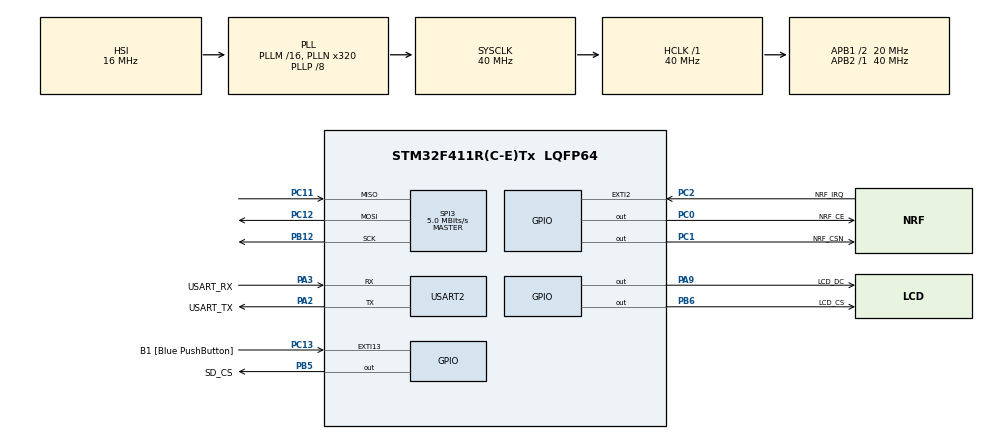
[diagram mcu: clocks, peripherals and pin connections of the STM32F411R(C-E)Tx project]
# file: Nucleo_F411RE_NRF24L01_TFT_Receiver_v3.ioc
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Mcu.Family=STM32F4
Mcu.Name=STM32F411R(C-E)Tx
Mcu.Package=LQFP64
NVIC.EXTI2_IRQn=true\:0\:0\:false\:false\:true\:true\:true
NVIC.PriorityGroup=NVIC_PRIORITYGROUP_0
PA13.GPIO_Label=TMS
PA13.Mode=Serial_Wire
PA13.Signal=SYS_JTMS-SWDIO
PA14.GPIO_Label=TCK
PA14.Mode=Serial_Wire
PA14.Signal=SYS_JTCK-SWCLK
PA2.GPIO_Label=USART_TX
PA2.Mode=Asynchronous
PA2.Signal=USART2_TX
PA3.GPIO_Label=USART_RX
PA3.Mode=Asynchronous
PA3.Signal=USART2_RX
PA5.Signal=SPI1_SCK
PA9.GPIO_Label=LCD_DC
PA9.Signal=GPIO_Output
PB12.Mode=Full_Duplex_Master
PB12.Signal=SPI3_SCK
PB5.GPIO_Label=SD_CS
PB5.Signal=GPIO_Output
PB6.GPIO_Label=LCD_CS
PB6.Signal=GPIO_Output
PC0.GPIO_Label=NRF_CE
PC0.Signal=GPIO_Output
PC1.GPIO_Label=NRF_CSN
PC1.Signal=GPIO_Output
PC11.Mode=Full_Duplex_Master
PC11.Signal=SPI3_MISO
PC12.Mode=Full_Duplex_Master
PC12.Signal=SPI3_MOSI
PC13-ANTI_TAMP.GPIO_Label=B1 [Blue PushButton]
PC13-ANTI_TAMP.GPIO_ModeDefaultEXTI=GPIO_MODE_IT_FALLING
PC13-ANTI_TAMP.Signal=GPXTI13
PC14-OSC32_IN.Mode=LSE-External-Oscillator
PC14-OSC32_IN.Signal=RCC_OSC32_IN
PC15-OSC32_OUT.Mode=LSE-External-Oscillator
PC15-OSC32_OUT.Signal=RCC_OSC32_OUT
PC2.GPIO_Label=NRF_IRQ
PC2.Signal=GPXTI2
PH0\ -\ OSC_IN.Mode=HSE-External-Clock-Source
PH0\ -\ OSC_IN.Signal=RCC_OSC_IN
PH1\ -\ OSC_OUT.Mode=HSE-External-Clock-Source
PH1\ -\ OSC_OUT.Signal=RCC_OSC_OUT
ProjectManager.HeapSize=0x200
ProjectManager.StackSize=0x400
ProjectManager.TargetToolchain=STM32CubeIDE
RCC.48MHZClocksFreq_Value=80000000
RCC.AHBFreq_Value=40000000
RCC.APB1CLKDivider=RCC_HCLK_DIV2
RCC.APB1Freq_Value=20000000
RCC.APB1TimFreq_Value=40000000
RCC.APB2Freq_Value=40000000
RCC.APB2TimFreq_Value=40000000
RCC.CortexFreq_Value=40000000
RCC.FLatency-AdvancedSettings=FLASH_LATENCY_1
RCC.HCLKFreq_Value=40000000
RCC.HSE_VALUE=8000000
RCC.HSI_VALUE=16000000
RCC.PLLN=320
RCC.PLLP=RCC_PLLP_DIV8
RCC.SYSCLKFreq_VALUE=40000000
RCC.SYSCLKSource=RCC_SYSCLKSOURCE_PLLCLK
RCC.VCOOutputFreq_Value=320000000
SPI3.BaudRatePrescaler=SPI_BAUDRATEPRESCALER_4
SPI3.CalculateBaudRate=5.0 MBits/s
SPI3.Direction=SPI_DIRECTION_2LINES
SPI3.Mode=SPI_MODE_MASTER
SPI3.VirtualType=VM_MASTER
USART2.VirtualMode=VM_ASYNC
board=NUCLEO-F411RE

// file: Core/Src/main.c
/* USER CODE BEGIN Header */
/**
 ******************************************************************************
 * @file           : main.c
 * @brief          : Main program body
 ******************************************************************************
 * @attention
 *
 * <h2><center>&copy; Copyright (c) 2020 STMicroelectronics.
 * All rights reserved.</center></h2>
 *
 * This software component is licensed by ST under BSD 3-Clause license,
 * the "License"; You may not use this file except in compliance with the
 * License. You may obtain a copy of the License at:
 *                        opensource.org/licenses/BSD-3-Clause
 *
 ******************************************************************************
 */
/* USER CODE END Header */
#include "main.h"

/* USER CODE BEGIN Includes */
#include <stdio.h>
#include <math.h>
#include <string.h> /* strlen */
#include <inttypes.h>
/* USER CODE END Includes */

/* USER CODE BEGIN PTD */

typedef enum {
	SHIELD_NOT_DETECTED = 0,
	SHIELD_DETECTED
}ShieldStatus;

/* USER CODE END PTD */

/* USER CODE BEGIN PD */

#define SD_CARD_NOT_FORMATTED                    0
#define SD_CARD_FILE_NOT_SUPPORTED               1
#define SD_CARD_OPEN_FAIL                        2
#define FATFS_NOT_MOUNTED                        3
/* USER CODE END PD */

SPI_HandleTypeDef hspi3;

UART_HandleTypeDef huart2;

/* USER CODE BEGIN PV */

uint8_t BlinkSpeed = 0, str[20];
__IO uint8_t JoystickValue = 0;

uint32_t CH1_captures[2];
volatile uint8_t  CH1_captureDone = 0;
volatile uint16_t uh_CH1_CaptureIndex = 0;
volatile uint32_t CH1_diffCapture = 0;
/* USER CODE END PV */

void SystemClock_Config(void);
static void MX_GPIO_Init(void);
static void MX_SPI3_Init(void);
static void MX_USART2_UART_Init(void);
/* USER CODE BEGIN PFP */

static ShieldStatus TFT_ShieldDetect(void);
static void TFT_DisplayMenu(void);

void runRadio(void);
/* USER CODE END PFP */

/* USER CODE BEGIN 0 */

// WARNING UART2 is connected to st-link
// Properties -> Settings -> MCU_Settings -> select use float with printf
/*
 * USART2, BaudRate = 115200, WordLength = UART_WORDLENGTH_8B, StopBits = UART_STOPBITS_1;
 * */
int _write(int file, char *ptr, int len)
{
	HAL_UART_Transmit(&huart2,(uint8_t *)ptr, len, 10);
	return len;
}
/* USER CODE END 0 */

int main(void)
{

  /* MCU Configuration--------------------------------------------------------*/

  /* Reset of all peripherals, Initializes the Flash interface and the Systick. */
  HAL_Init();

  /* Configure the system clock */
  SystemClock_Config();

  /* Initialize all configured peripherals */
  MX_GPIO_Init();
  MX_SPI3_Init();
  MX_USART2_UART_Init();
  /* USER CODE BEGIN 2 */

	printf("start\n");

	/* Check the availability of adafruit 1.8" TFT shield on top of STM32NUCLEO
       board. This is done by reading the state of IO PB.00 pin (mapped to JoyStick
       available on adafruit 1.8" TFT shield). If the state of PB.00 is high then
       the adafruit 1.8" TFT shield is available. */
	if(TFT_ShieldDetect() == SHIELD_DETECTED)
	{
		/* Initialize the LCD */
		uint8_t ret = BSP_LCD_Init();

		TFT_DisplayMenu();

	}
	else /* Shield not mounted */
	{
		Error_Handler();
	}

	HAL_Delay(100);

	runRadio();

  /* USER CODE END 2 */

  /* Infinite loop */
	while (1)
	{

	}
}

void SystemClock_Config(void)
{
  RCC_OscInitTypeDef RCC_OscInitStruct = {0};
  RCC_ClkInitTypeDef RCC_ClkInitStruct = {0};

  /** Configure the main internal regulator output voltage
  */
  __HAL_RCC_PWR_CLK_ENABLE();
  __HAL_PWR_VOLTAGESCALING_CONFIG(PWR_REGULATOR_VOLTAGE_SCALE1);
  /** Initializes the RCC Oscillators according to the specified parameters
  * in the RCC_OscInitTypeDef structure.
  */
  RCC_OscInitStruct.OscillatorType = RCC_OSCILLATORTYPE_HSI;
  RCC_OscInitStruct.HSIState = RCC_HSI_ON;
  RCC_OscInitStruct.HSICalibrationValue = RCC_HSICALIBRATION_DEFAULT;
  RCC_OscInitStruct.PLL.PLLState = RCC_PLL_ON;
  RCC_OscInitStruct.PLL.PLLSource = RCC_PLLSOURCE_HSI;
  RCC_OscInitStruct.PLL.PLLM = 16;
  RCC_OscInitStruct.PLL.PLLN = 320;
  RCC_OscInitStruct.PLL.PLLP = RCC_PLLP_DIV8;
  RCC_OscInitStruct.PLL.PLLQ = 4;
  if (HAL_RCC_OscConfig(&RCC_OscInitStruct) != HAL_OK)
  {
    Error_Handler();
  }
  /** Initializes the CPU, AHB and APB buses clocks
  */
  RCC_ClkInitStruct.ClockType = RCC_CLOCKTYPE_HCLK|RCC_CLOCKTYPE_SYSCLK
                              |RCC_CLOCKTYPE_PCLK1|RCC_CLOCKTYPE_PCLK2;
  RCC_ClkInitStruct.SYSCLKSource = RCC_SYSCLKSOURCE_PLLCLK;
  RCC_ClkInitStruct.AHBCLKDivider = RCC_SYSCLK_DIV1;
  RCC_ClkInitStruct.APB1CLKDivider = RCC_HCLK_DIV2;
  RCC_ClkInitStruct.APB2CLKDivider = RCC_HCLK_DIV1;

  if (HAL_RCC_ClockConfig(&RCC_ClkInitStruct, FLASH_LATENCY_1) != HAL_OK)
  {
    Error_Handler();
  }
}

static void MX_SPI3_Init(void)
{

  /* SPI3 parameter configuration*/
  hspi3.Instance = SPI3;
  hspi3.Init.Mode = SPI_MODE_MASTER;
  hspi3.Init.Direction = SPI_DIRECTION_2LINES;
  hspi3.Init.DataSize = SPI_DATASIZE_8BIT;
  hspi3.Init.CLKPolarity = SPI_POLARITY_LOW;
  hspi3.Init.CLKPhase = SPI_PHASE_1EDGE;
  hspi3.Init.NSS = SPI_NSS_SOFT;
  hspi3.Init.BaudRatePrescaler = SPI_BAUDRATEPRESCALER_4;
  hspi3.Init.FirstBit = SPI_FIRSTBIT_MSB;
  hspi3.Init.TIMode = SPI_TIMODE_DISABLE;
  hspi3.Init.CRCCalculation = SPI_CRCCALCULATION_DISABLE;
  hspi3.Init.CRCPolynomial = 10;
  if (HAL_SPI_Init(&hspi3) != HAL_OK)
  {
    Error_Handler();
  }

}

static void MX_USART2_UART_Init(void)
{

  huart2.Instance = USART2;
  huart2.Init.BaudRate = 115200;
  huart2.Init.WordLength = UART_WORDLENGTH_8B;
  huart2.Init.StopBits = UART_STOPBITS_1;
  huart2.Init.Parity = UART_PARITY_NONE;
  huart2.Init.Mode = UART_MODE_TX_RX;
  huart2.Init.HwFlowCtl = UART_HWCONTROL_NONE;
  huart2.Init.OverSampling = UART_OVERSAMPLING_16;
  if (HAL_UART_Init(&huart2) != HAL_OK)
  {
    Error_Handler();
  }

}

static void MX_GPIO_Init(void)
{
  GPIO_InitTypeDef GPIO_InitStruct = {0};

  /* GPIO Ports Clock Enable */
  __HAL_RCC_GPIOC_CLK_ENABLE();
  __HAL_RCC_GPIOH_CLK_ENABLE();
  __HAL_RCC_GPIOA_CLK_ENABLE();
  __HAL_RCC_GPIOB_CLK_ENABLE();

  /*Configure GPIO pin Output Level */
  HAL_GPIO_WritePin(GPIOC, NRF_CE_Pin|NRF_CSN_Pin, GPIO_PIN_RESET);

  /*Configure GPIO pin Output Level */
  HAL_GPIO_WritePin(LCD_DC_GPIO_Port, LCD_DC_Pin, GPIO_PIN_RESET);

  /*Configure GPIO pin Output Level */
  HAL_GPIO_WritePin(GPIOB, SD_CS_Pin|LCD_CS_Pin, GPIO_PIN_RESET);

  /*Configure GPIO pin : B1_Pin */
  GPIO_InitStruct.Pin = B1_Pin;
  GPIO_InitStruct.Mode = GPIO_MODE_IT_FALLING;
  GPIO_InitStruct.Pull = GPIO_NOPULL;
  HAL_GPIO_Init(B1_GPIO_Port, &GPIO_InitStruct);

  /*Configure GPIO pins : NRF_CE_Pin NRF_CSN_Pin */
  GPIO_InitStruct.Pin = NRF_CE_Pin|NRF_CSN_Pin;
  GPIO_InitStruct.Mode = GPIO_MODE_OUTPUT_PP;
  GPIO_InitStruct.Pull = GPIO_NOPULL;
  GPIO_InitStruct.Speed = GPIO_SPEED_FREQ_LOW;
  HAL_GPIO_Init(GPIOC, &GPIO_InitStruct);

  /*Configure GPIO pin : NRF_IRQ_Pin */
  GPIO_InitStruct.Pin = NRF_IRQ_Pin;
  GPIO_InitStruct.Mode = GPIO_MODE_IT_RISING;
  GPIO_InitStruct.Pull = GPIO_NOPULL;
  HAL_GPIO_Init(NRF_IRQ_GPIO_Port, &GPIO_InitStruct);

  /*Configure GPIO pin : PA5 */
  GPIO_InitStruct.Pin = GPIO_PIN_5;
  GPIO_InitStruct.Mode = GPIO_MODE_AF_PP;
  GPIO_InitStruct.Pull = GPIO_NOPULL;
  GPIO_InitStruct.Speed = GPIO_SPEED_FREQ_VERY_HIGH;
  GPIO_InitStruct.Alternate = GPIO_AF5_SPI1;
  HAL_GPIO_Init(GPIOA, &GPIO_InitStruct);

  /*Configure GPIO pin : LCD_DC_Pin */
  GPIO_InitStruct.Pin = LCD_DC_Pin;
  GPIO_InitStruct.Mode = GPIO_MODE_OUTPUT_PP;
  GPIO_InitStruct.Pull = GPIO_NOPULL;
  GPIO_InitStruct.Speed = GPIO_SPEED_FREQ_LOW;
  HAL_GPIO_Init(LCD_DC_GPIO_Port, &GPIO_InitStruct);

  /*Configure GPIO pins : SD_CS_Pin LCD_CS_Pin */
  GPIO_InitStruct.Pin = SD_CS_Pin|LCD_CS_Pin;
  GPIO_InitStruct.Mode = GPIO_MODE_OUTPUT_PP;
  GPIO_InitStruct.Pull = GPIO_NOPULL;
  GPIO_InitStruct.Speed = GPIO_SPEED_FREQ_LOW;
  HAL_GPIO_Init(GPIOB, &GPIO_InitStruct);

  /* EXTI interrupt init*/
  HAL_NVIC_SetPriority(EXTI2_IRQn, 0, 0);
  HAL_NVIC_EnableIRQ(EXTI2_IRQn);

}

/* USER CODE BEGIN 4 */

/**
 * @brief  Blinks LED2 with two frequencies depending on User press button.
 * @param  None
 * @retval None
 */
static void LED2_Blink(void)
{
	/* Configure LED2 */
	BSP_LED_Init(LED2);

	/* Configure USER Button */
	BSP_PB_Init(BUTTON_KEY, BUTTON_MODE_EXTI);

	/* Initiate BlinkSpeed variable */
	BlinkSpeed = 0;

	/* Infinite loop */
	while(1)
	{
		/* Test on blink speed */
		if(BlinkSpeed == 0)
		{
			BSP_LED_Toggle(LED2);
			/* Wait for 500ms */
			HAL_Delay(500);
		}
		else if(BlinkSpeed == 1)
		{
			BSP_LED_Toggle(LED2);
			/* Wait for 100ms */
			HAL_Delay(100);
		}
		else if(BlinkSpeed == 2)
		{
			BSP_LED_Toggle(LED2);
			/* Wait for 50ms */
			HAL_Delay(50);
		}
	}
}

/**
 * @brief  EXTI line detection callbacks.
 * @param  GPIO_Pin: Specifies the pins connected EXTI line
 * @retval None
 */
void HAL_GPIO_EXTI_Callback(uint16_t GPIO_Pin)
{
	if(BlinkSpeed == 2)
	{
		BlinkSpeed = 0;
	}
	else
	{
		BlinkSpeed ++;
	}
}

/**
 * @brief  Check the availability of adafruit 1.8" TFT shield on top of STM32NUCLEO
 *         board. This is done by reading the state of IO PB.00 pin (mapped to
 *         JoyStick available on adafruit 1.8" TFT shield). If the state of PB.00
 *         is high then the adafruit 1.8" TFT shield is available.
 * @param  None
 * @retval SHIELD_DETECTED: 1.8" TFT shield is available
 *         SHIELD_NOT_DETECTED: 1.8" TFT shield is not available
 */
static ShieldStatus TFT_ShieldDetect(void)
{
	GPIO_InitTypeDef  GPIO_InitStruct;

	/* Enable GPIO clock */
	__HAL_RCC_GPIOB_CLK_ENABLE();

	GPIO_InitStruct.Pin = GPIO_PIN_0;
	GPIO_InitStruct.Mode = GPIO_MODE_INPUT;
	GPIO_InitStruct.Pull = GPIO_PULLDOWN;
	HAL_GPIO_Init(GPIOB, &GPIO_InitStruct);

	if(HAL_GPIO_ReadPin(GPIOB, GPIO_PIN_0) != 0)
	{
		return SHIELD_DETECTED;
	}
	else
	{
		return SHIELD_NOT_DETECTED;
	}
}

/**
 * @brief  Displays demonstration menu.
 * @param  None
 * @retval None
 */
static void TFT_DisplayMenu(void)
{

	BSP_LCD_Clear(LCD_COLOR_BLACK);

	/* Set Menu font */
	BSP_LCD_SetFont(&Font12);

	/* Set Text color */
	BSP_LCD_SetTextColor(LCD_COLOR_RED);
	/* Display message */
	BSP_LCD_DisplayStringAtLine(1, (uint8_t*)"   NUCLEO-F411RE    ");
	BSP_LCD_DisplayStringAtLine(2, (uint8_t*)"       DEMO         ");

}

/* USER CODE END 4 */

void Error_Handler(void)
{
  /* USER CODE BEGIN Error_Handler_Debug */
	/* User can add his own implementation to report the HAL error return state */

	LED2_Blink();

  /* USER CODE END Error_Handler_Debug */
}
